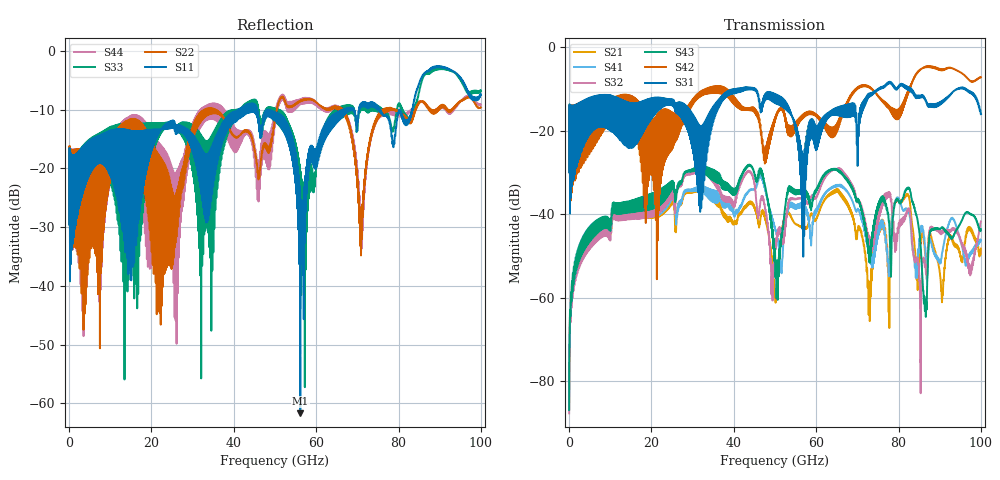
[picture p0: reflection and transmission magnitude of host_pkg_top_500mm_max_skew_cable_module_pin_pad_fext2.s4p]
# Hz S RI R 50
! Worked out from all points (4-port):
!   10000 points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, 10 MHz to 100 GHz, reference 50 ohm
!   strongest paths, dB at 10 MHz, 25.01 GHz, 50.01 GHz, 75.01 GHz, 100 GHz:
!     S31: -29.9, -12.9, -11.4, -10.0, -16.1
!     S42: -29.9, -15.8, -16.8, -11.6, -7.2
!     S43: -86.8, -33.8, -48.9, -38.1, -43.5
!     S32: -87.6, -36.3, -48.2, -42.0, -41.7
!     S41: -86.6, -36.1, -43.3, -44.6, -46.2
!     S21: -86.8, -37.6, -59.0, -44.6, -48.2
!   lowest |S11| = -61.7 dB at 56.14 GHz (marker M1), VSWR 1.00, Z = 50 - j0.0728 ohm
!   |S11| at or under -10 dB: start of sweep to 41.09 GHz; 45.65 GHz to 66.53 GHz (20.89 GHz wide, 37.2 % of centre); 75.51 GHz to 83.27 GHz (7.76 GHz wide, 9.77 % of centre)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
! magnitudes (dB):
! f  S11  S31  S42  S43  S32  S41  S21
! 10 MHz  -29.6  -29.9  -29.9  -86.8  -87.6  -86.6  -86.8
! 11.06 GHz  -22.2  -20.7  -14.0  -37.4  -38.4  -37.9  -38.1
! 56.14 GHz  -61.7  -26.5  -16.7  -35.1  -36.2  -38.4  -42.9
! 70.89 GHz  -9.5  -13.8  -9.5  -38.6  -37.6  -40.5  -44.2
! 82.5 GHz  -12.2  -10.2  -10.6  -33.7  -38.8  -39.5  -35.6
! 86.41 GHz  -3.7  -12.2  -4.8  -63.1  -52.5  -47.8  -49.0
! 100 GHz  -7.5  -16.1  -7.2  -43.5  -41.7  -46.2  -48.2
